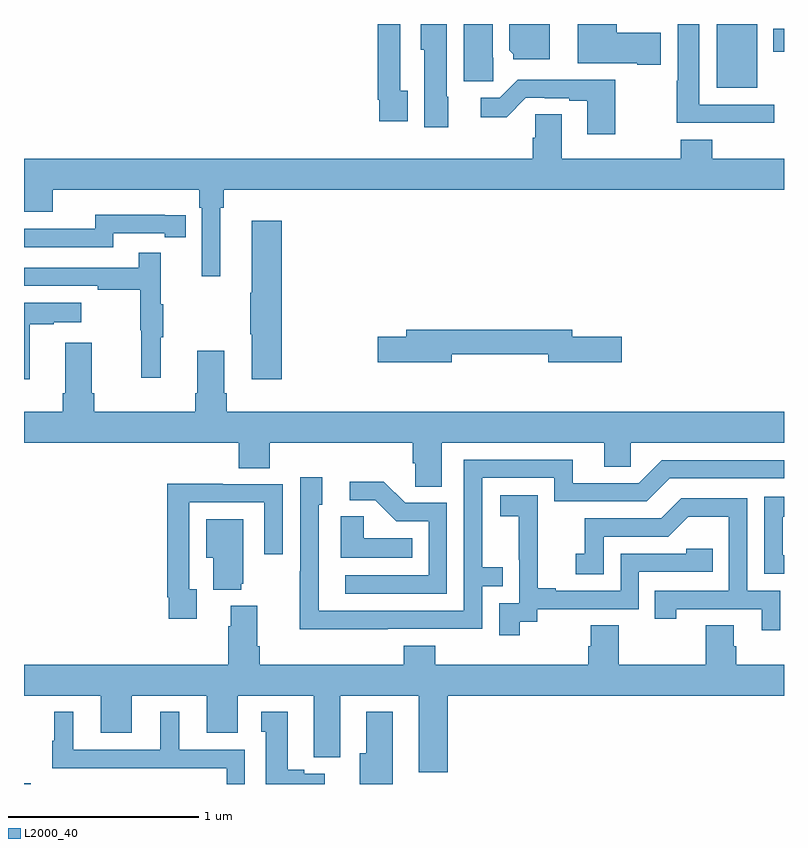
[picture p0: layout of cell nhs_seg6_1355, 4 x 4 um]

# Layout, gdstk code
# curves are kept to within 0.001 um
import gdstk
lib = gdstk.Library(unit=1e-6, precision=1e-09)
def R(c, l, rs):  # rectangles x0, y0, x1, y1
    for r in rs: c.add(gdstk.rectangle(r[:2], r[2:], *l))
def P(c, l, *ps):  # polygons
    for p in ps: c.add(gdstk.Polygon(p, *l))
L2000_40 = (2000, 40)

nhs_seg6_1355 = lib.new_cell('nhs_seg6_1355')
R(nhs_seg6_1355, L2000_40, [(193,985.5,193.035,985.504), (196.646,989.165,196.858,989.5), (196.943,989.354,197,989.476)])
P(nhs_seg6_1355, L2000_40, [(195.232,989.118),(195.226,989.118),(195.226,989.5),(195.089,989.5),(195.089,989.364),(195.107,989.364),(195.107,988.956),(195.232,988.956)],
  [(195.766,989.5),(195.554,989.5),(195.554,989.362),(195.576,989.34),(195.576,989.315),(195.766,989.315)],
  [(195.019,989.15),(194.979,989.15),(194.979,989.5),(194.863,989.5),(194.863,989.101),(194.871,989.101),(194.871,988.989),(195.019,988.989)],
  [(195.47,989.322),(195.466,989.322),(195.466,989.5),(195.314,989.5),(195.314,989.199),(195.47,989.199)],
  [(196.948,989.076),(196.555,989.076),(196.555,989.5),(196.442,989.5),(196.442,989.201),(196.435,989.201),(196.435,988.979),(196.948,988.979)],
  [(196.351,989.455),(196.12,989.455),(196.12,989.5),(195.914,989.5),(195.914,989.294),(196.227,989.294),(196.227,989.285),(196.351,989.285)],
  [(196.113,989.206),(195.598,989.206),(195.504,989.112),(195.405,989.112),(195.405,989.01),(195.54,989.01),(195.642,989.112),(195.742,989.112),(195.742,989.109),(195.869,989.109),(195.869,989.097),(195.965,989.097),(195.965,988.92),(196.113,988.92)],
  [(193,988.511),(193.15,988.511),(193.15,988.628),(193.922,988.628),(193.922,988.532),(193.935,988.532),(193.935,988.173),(194.032,988.173),(194.032,988.532),(194.051,988.532),(194.051,988.628),(197,988.628),(197,988.792),(196.622,988.792),(196.622,988.891),(196.457,988.891),(196.457,988.792),(195.829,988.792),(195.829,989.024),(195.69,989.024),(195.69,988.902),(195.677,988.902),(195.677,988.792),(193,988.792)],
  [(193.47,988.398),(193.742,988.398),(193.742,988.378),(193.85,988.378),(193.85,988.494),(193.742,988.494),(193.742,988.495),(193.374,988.495),(193.374,988.422),(193,988.422),(193,988.326),(193.47,988.326)],
  [(194.357,988.465),(194.198,988.465),(194.198,988.085),(194.191,988.085),(194.191,987.868),(194.198,987.868),(194.198,987.63),(194.357,987.63)],
  [(193.721,987.851),(193.732,987.851),(193.732,988.025),(193.721,988.025),(193.721,988.297),(193.603,988.297),(193.603,988.218),(193,988.218),(193,988.122),(193.387,988.122),(193.387,988.102),(193.611,988.102),(193.611,987.888),(193.618,987.888),(193.618,987.639),(193.721,987.639)],
  [(193.03,987.919),(193.157,987.919),(193.157,987.929),(193.3,987.929),(193.3,988.033),(193,988.033),(193,987.63),(193.03,987.63)],
  [(195.25,987.762),(195.758,987.762),(195.758,987.719),(196.147,987.719),(196.147,987.854),(195.886,987.854),(195.886,987.89),(195.011,987.89),(195.011,987.854),(194.862,987.854),(194.862,987.719),(195.25,987.719)],
  [(195.199,987.296),(196.055,987.296),(196.055,987.169),(196.194,987.169),(196.194,987.296),(197,987.296),(197,987.46),(194.066,987.46),(194.066,987.556),(194.053,987.556),(194.053,987.781),(193.913,987.781),(193.913,987.556),(193.901,987.556),(193.901,987.46),(193.37,987.46),(193.37,987.556),(193.357,987.556),(193.357,987.823),(193.217,987.823),(193.217,987.556),(193.205,987.556),(193.205,987.46),(193,987.46),(193,987.296),(194.129,987.296),(194.129,987.163),(194.294,987.163),(194.294,987.296),(195.047,987.296),(195.047,987.187),(195.06,987.187),(195.06,987.064),(195.199,987.064)],
  [(194.915,986.316),(195.411,986.316),(195.411,986.541),(195.521,986.541),(195.521,986.642),(195.411,986.642),(195.411,987.111),(195.792,987.111),(195.792,986.988),(196.278,986.988),(196.398,987.108),(197,987.108),(197,987.204),(196.356,987.204),(196.236,987.084),(195.889,987.084),(195.889,987.207),(195.315,987.207),(195.315,986.412),(194.55,986.412),(194.55,986.97),(194.569,986.97),(194.569,987.115),(194.454,987.115),(194.454,986.621),(194.452,986.621),(194.452,986.315)],
  [(195.225,986.979),(195.006,986.979),(194.893,987.092),(194.715,987.092),(194.715,986.994),(194.849,986.994),(194.96,986.883),(195.129,986.883),(195.129,986.598),(194.691,986.598),(194.691,986.502),(195.225,986.502)],
  [(193.909,986.526),(193.869,986.526),(193.869,986.982),(194.265,986.982),(194.265,986.709),(194.361,986.709),(194.361,987.078),(194.045,987.078),(194.045,987.08),(193.753,987.08),(193.753,986.482),(193.761,986.482),(193.761,986.37),(193.909,986.37)],
  [(195.61,986.353),(195.702,986.353),(195.702,986.421),(196.236,986.421),(196.236,986.616),(196.625,986.616),(196.625,986.739),(196.485,986.739),(196.485,986.712),(196.14,986.712),(196.14,986.517),(195.799,986.517),(195.799,986.53),(195.704,986.53),(195.704,986.813),(195.705,986.813),(195.705,987.019),(195.507,987.019),(195.507,986.909),(195.605,986.909),(195.605,986.681),(195.606,986.681),(195.606,986.451),(195.501,986.451),(195.501,986.283),(195.61,986.283)],
  [(197,986.703),(196.993,986.703),(196.993,986.907),(197,986.907),(197,987.013),(196.896,987.013),(196.896,986.607),(197,986.607)],
  [(196.98,986.517),(196.806,986.517),(196.806,987.003),(196.46,987.003),(196.355,986.898),(195.952,986.898),(195.952,986.713),(195.903,986.713),(195.903,986.604),(196.05,986.604),(196.05,986.802),(196.392,986.802),(196.496,986.906),(196.71,986.906),(196.71,986.517),(196.321,986.517),(196.321,986.37),(196.432,986.37),(196.432,986.421),(196.883,986.421),(196.883,986.31),(196.98,986.31)],
  [(195.044,986.794),(194.787,986.794),(194.787,986.909),(194.666,986.909),(194.666,986.69),(195.044,986.69)],
  [(194.144,986.553),(194.155,986.553),(194.155,986.893),(193.958,986.893),(193.958,986.69),(193.997,986.69),(193.997,986.522),(194.144,986.522)],
  [(194.125,985.964),(194.525,985.964),(194.525,985.641),(194.665,985.641),(194.665,985.964),(195.077,985.964),(195.077,985.563),(195.23,985.563),(195.23,985.964),(197,985.964),(197,986.128),(196.748,986.128),(196.748,986.226),(196.735,986.226),(196.735,986.336),(196.588,986.336),(196.588,986.128),(196.131,986.128),(196.131,986.336),(195.983,986.336),(195.983,986.226),(195.971,986.226),(195.971,986.128),(195.164,986.128),(195.164,986.227),(194.999,986.227),(194.999,986.128),(194.24,986.128),(194.24,986.224),(194.227,986.224),(194.227,986.437),(194.087,986.437),(194.087,986.33),(194.075,986.33),(194.075,986.128),(193,986.128),(193,985.964),(193.403,985.964),(193.403,985.77),(193.567,985.77),(193.567,985.964),(193.961,985.964),(193.961,985.77),(194.125,985.77)],
  [(194.584,985.555),(194.475,985.555),(194.475,985.576),(194.389,985.576),(194.389,985.879),(194.249,985.879),(194.249,985.776),(194.273,985.776),(194.273,985.5),(194.584,985.5)],
  [(194.941,985.879),(194.801,985.879),(194.801,985.663),(194.768,985.663),(194.768,985.5),(194.941,985.5)],
  [(194.163,985.68),(193.816,985.68),(193.816,985.879),(193.718,985.879),(193.718,985.68),(193.258,985.68),(193.258,985.879),(193.16,985.879),(193.16,985.728),(193.149,985.728),(193.149,985.584),(194.067,985.584),(194.067,985.5),(194.163,985.5)])

lib.write_gds('nhs_seg6_1355.gds')
